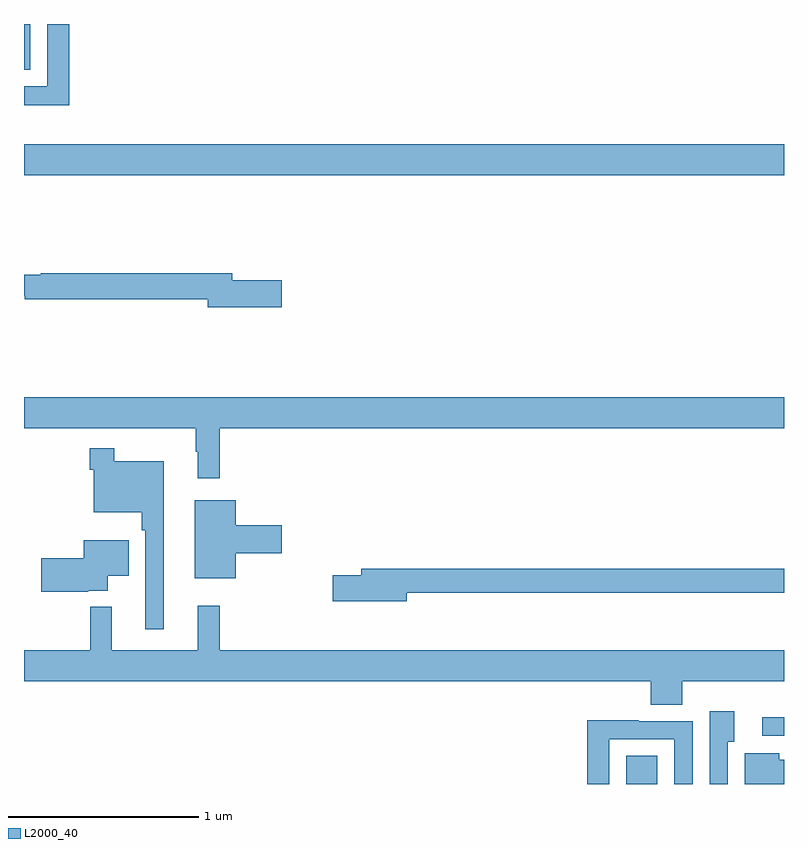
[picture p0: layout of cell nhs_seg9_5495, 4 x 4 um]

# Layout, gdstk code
import gdstk
lib = gdstk.Library(unit=1e-6, precision=1e-09)
def R(c, l, rs):  # rectangles x0, y0, x1, y1
    for r in rs: c.add(gdstk.rectangle(r[:2], r[2:], *l))
def P(c, l, *ps):  # polygons
    for p in ps: c.add(gdstk.Polygon(p, *l))
L2000_40 = (2000, 40)

nhs_seg9_5495 = lib.new_cell('nhs_seg9_5495')
R(nhs_seg9_5495, L2000_40, [(432.17,1242.5,432.334,1242.65), (432.885,1242.753,433,1242.851), (429,1245.704,433,1245.868), (429,1246.258,429.034,1246.5)])
P(nhs_seg9_5495, L2000_40, [(429.239,1246.5),(429.123,1246.5),(429.123,1246.173),(429,1246.173),(429,1246.073),(429.239,1246.073)],
  [(430.357,1245.152),(430.096,1245.152),(430.096,1245.188),(429.087,1245.188),(429.087,1245.181),(429,1245.181),(429,1245.071),(429.004,1245.071),(429.004,1245.052),(429.968,1245.052),(429.968,1245.01),(430.357,1245.01)],
  [(430.031,1244.372),(433,1244.372),(433,1244.536),(429,1244.536),(429,1244.372),(429.903,1244.372),(429.903,1244.249),(429.914,1244.249),(429.914,1244.109),(430.031,1244.109)],
  [(429.736,1244.2),(429.475,1244.2),(429.475,1244.266),(429.346,1244.266),(429.346,1244.153),(429.366,1244.153),(429.366,1243.931),(429.619,1243.931),(429.619,1243.835),(429.639,1243.835),(429.639,1243.314),(429.736,1243.314)],
  [(430.114,1243.715),(430.357,1243.715),(430.357,1243.862),(430.114,1243.862),(430.114,1243.993),(429.899,1243.993),(429.899,1243.583),(430.114,1243.583)],
  [(429.338,1243.517),(429.442,1243.517),(429.442,1243.595),(429.55,1243.595),(429.55,1243.783),(429.314,1243.783),(429.314,1243.688),(429.09,1243.688),(429.09,1243.512),(429.338,1243.512)],
  [(431.014,1243.506),(433,1243.506),(433,1243.634),(430.775,1243.634),(430.775,1243.598),(430.626,1243.598),(430.626,1243.463),(431.014,1243.463)],
  [(432.299,1242.916),(432.464,1242.916),(432.464,1243.04),(433,1243.04),(433,1243.204),(430.031,1243.204),(430.031,1243.438),(429.914,1243.438),(429.914,1243.204),(429.461,1243.204),(429.461,1243.432),(429.348,1243.432),(429.348,1243.204),(429,1243.204),(429,1243.04),(432.299,1243.04)],
  [(432.705,1242.722),(432.739,1242.722),(432.739,1242.883),(432.609,1242.883),(432.609,1242.5),(432.705,1242.5)],
  [(432.081,1242.735),(432.423,1242.735),(432.423,1242.5),(432.519,1242.5),(432.519,1242.831),(432.235,1242.831),(432.235,1242.835),(431.965,1242.835),(431.965,1242.5),(432.081,1242.5)],
  [(433,1242.627),(432.975,1242.627),(432.975,1242.663),(432.794,1242.663),(432.794,1242.5),(433,1242.5)])

lib.write_gds('nhs_seg9_5495.gds')
